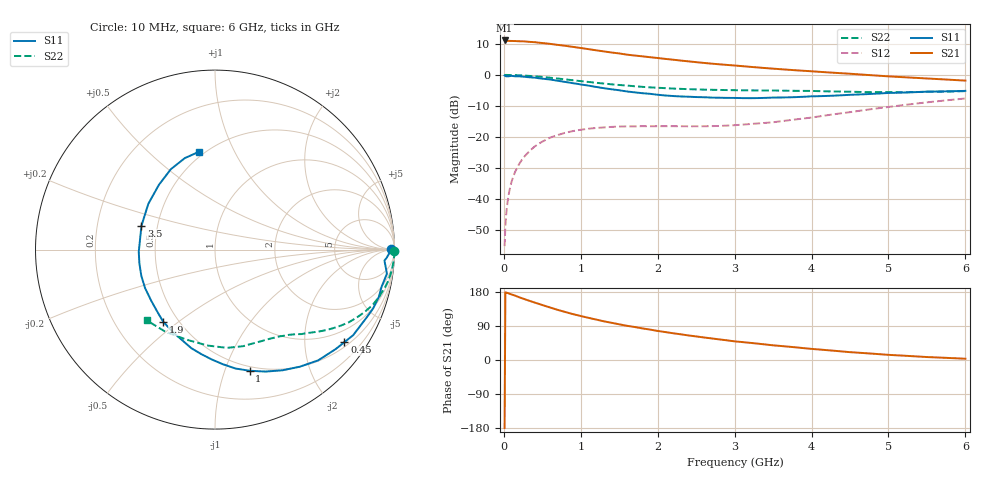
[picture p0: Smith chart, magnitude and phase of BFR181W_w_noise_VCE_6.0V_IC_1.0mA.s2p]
! Infineon Technologies  Discrete & RF Semiconductors
! BFR181W
! VCE =  6.0 V,  IC =  1.0 mA
! Common Emitter S-Parameters:  Jan 2017
# GHz  S  MA  R  50
!  f  S11  S21  S12  S22
! GHz  MAG  ANG  MAG  ANG  MAG  ANG  MAG  ANG
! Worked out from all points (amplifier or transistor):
!   77 points, 10 MHz to 6 GHz, reference 50 ohm
!   highest |S21| = 11.2 dB at 10 MHz (marker M1)
!   |S21| within 3 dB of that: start of sweep to 1.151 GHz
!   unconditionally stable (mu >= 1): 2.3 GHz to 4.419 GHz
!   at 130 MHz: K = 0.04, MSG = 21.7 dB, |S12| = -32.4 dB
!   at 2.2 GHz: K = 0.96, MSG = 10.8 dB, |S12| = -16.6 dB
!   at 6 GHz: K = 0.85, MSG = 2.9 dB, |S12| = -7.6 dB
!   lowest NFmin = 0.87 dB at 450 MHz
!   S11 on the Smith chart (normalised r, x): 10 MHz: open; 450 MHz: 0.62, -3.00; 1 GHz: 0.46, -1.22; 1.9 GHz: 0.41, -0.44; 3.5 GHz: 0.41, +0.13; 6 GHz: 0.47, +0.73
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0.01  0.9832 0.1  3.613 -179.6  0.0017 80.0  1 -0.5
0.02  0.957 -2.8  3.565 178.8  0.0036 97.4  1 -0.7
0.04  0.9497 -3.4  3.562 177.4  0.0072 88.0  1 -1.6
0.07  0.9539 -5.4  3.554 175.2  0.0129 85.3  0.9976 -2.9
0.11  0.9635 -8.9  3.543 172.3  0.0204 84.2  0.995 -4.6
0.25  0.9402 -20.4  3.5 162.0  0.0453 76.6  0.9808 -10.2
0.45  0.8863 -35.6  3.331 148.4  0.0764 66.7  0.9401 -17.8
0.6  0.8436 -47.0  3.184 138.6  0.0966 60.0  0.9027 -22.7
0.7  0.8056 -54.1  3.063 132.3  0.1065 56.4  0.8753 -25.7
0.8  0.7703 -60.8  2.96 126.6  0.1163 52.8  0.8474 -28.6
1  0.7022 -74.0  2.726 116.1  0.1299 46.5  0.7942 -33.3
1.1  0.6724 -80.2  2.615 111.3  0.135 44.1  0.7707 -35.4
1.3  0.6109 -92.0  2.404 102.1  0.1416 39.6  0.7258 -39.2
1.5  0.5649 -103.5  2.228 94.2  0.1464 36.6  0.6882 -42.6
1.9  0.4952 -125.5  1.937 80.3  0.1478 33.7  0.6298 -48.9
2.1  0.4652 -135.8  1.818 73.7  0.1483 33.8  0.6112 -51.9
2.6  0.4359 -160.4  1.565 59.5  0.1478 37.0  0.5786 -59.9
3.1  0.4221 177.7  1.387 47.3  0.1571 43.5  0.5644 -67.4
3.5  0.4308 162.0  1.264 38.7  0.1716 49.3  0.5603 -73.9
4.1  0.4535 142.5  1.124 27.7  0.2136 54.4  0.5469 -85.2
5.1  0.515 116.5  0.934 12.5  0.3148 53.2  0.5254 -110.1
6  0.5525 99.3  0.81 3.4  0.4163 45.1  0.5479 -134.0
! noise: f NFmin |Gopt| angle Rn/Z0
0.45  0.87  0.69  18  0.51
0.9  0.95  0.64  36  0.47
1.9  1.56  0.44  83  0.32
2.4  1.81  0.38  99  0.34
